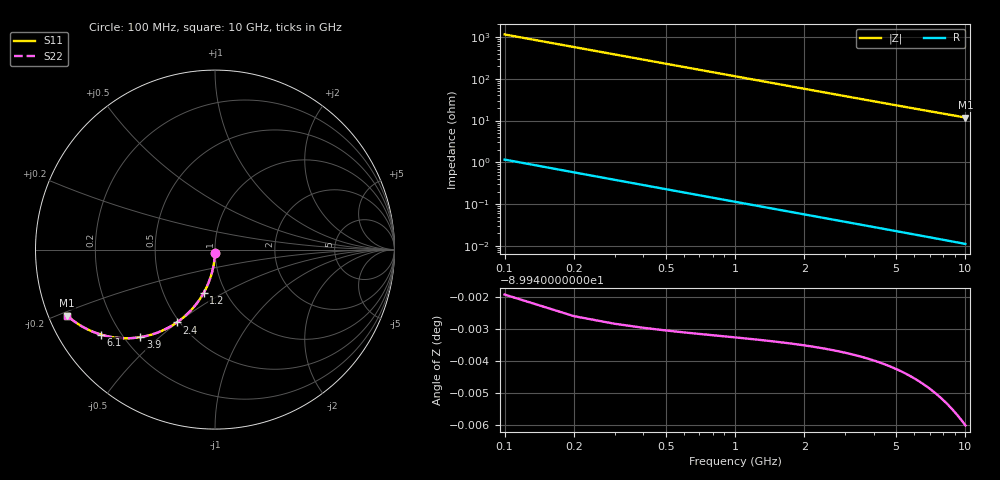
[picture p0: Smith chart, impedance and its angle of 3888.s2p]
# Hz S RI R 50.00
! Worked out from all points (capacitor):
!   100 points, 100 MHz to 10 GHz, reference 50 ohm
!   read as one part in shunt: C = 1.38 pF near 100 MHz
!   lowest |Z| = 11.9 ohm at 10 GHz (marker M1)
!   S11 on the Smith chart (normalised r, x): 100 MHz: 1.00, -0.04; 1.2 GHz: 0.79, -0.41; 2.4 GHz: 0.48, -0.50; 3.9 GHz: 0.26, -0.43; 6.1 GHz: 0.13, -0.33; 10 GHz: 0.05, -0.21
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1e8  -0.000473 -0.0216  0.9995 -0.0218  0.9995 -0.0218  -0.000473 -0.0216
2e8  -0.0019 -0.0431  0.9981 -0.0436  0.9981 -0.0436  -0.0019 -0.0431
3e8  -0.00427 -0.0645  0.9957 -0.0652  0.9957 -0.0652  -0.00427 -0.0645
4e8  -0.00755 -0.0857  0.9924 -0.0866  0.9924 -0.0866  -0.00755 -0.0857
5e8  -0.0117 -0.1066  0.9882 -0.1078  0.9882 -0.1078  -0.0117 -0.1066
6e8  -0.0168 -0.1273  0.9832 -0.1287  0.9832 -0.1287  -0.0168 -0.1273
7e8  -0.0227 -0.1476  0.9773 -0.1493  0.9773 -0.1493  -0.0227 -0.1476
9e8  -0.0369 -0.187  0.9631 -0.1891  0.9631 -0.1891  -0.0369 -0.187
1.2e9  -0.0637 -0.2423  0.9363 -0.2451  0.9363 -0.2451  -0.0637 -0.2423
1.5e9  -0.0959 -0.2922  0.904 -0.2958  0.904 -0.2958  -0.0959 -0.2922
1.8e9  -0.1324 -0.3363  0.8676 -0.3406  0.8676 -0.3406  -0.1324 -0.3363
2.1e9  -0.1718 -0.3743  0.8281 -0.3793  0.8281 -0.3793  -0.1718 -0.3743
2.4e9  -0.2131 -0.4061  0.7869 -0.4119  0.7869 -0.4119  -0.2131 -0.4061
2.9e9  -0.2831 -0.4465  0.7169 -0.4535  0.7169 -0.4535  -0.2831 -0.4465
3.4e9  -0.3515 -0.4729  0.6484 -0.481  0.6484 -0.481  -0.3515 -0.4729
3.9e9  -0.416 -0.4877  0.5839 -0.4971  0.5839 -0.4971  -0.416 -0.4877
5.1e9  -0.5487 -0.4909  0.4512 -0.5033  0.4512 -0.5033  -0.5487 -0.4909
6.1e9  -0.6347 -0.4735  0.3651 -0.4884  0.3651 -0.4884  -0.6347 -0.4735
6.7e9  -0.6769 -0.4589  0.3229 -0.4753  0.3229 -0.4753  -0.6769 -0.4589
7.5e9  -0.7241 -0.4372  0.2756 -0.4556  0.2756 -0.4556  -0.7241 -0.4372
8.4e9  -0.7671 -0.4117  0.2327 -0.4325  0.2327 -0.4325  -0.7671 -0.4117
1e10  -0.8237 -0.3679  0.1759 -0.3929  0.1759 -0.3929  -0.8237 -0.3679
